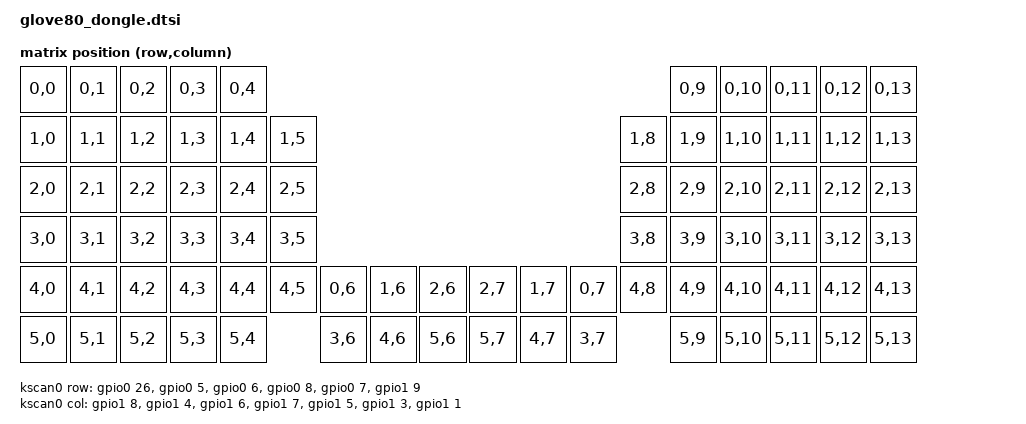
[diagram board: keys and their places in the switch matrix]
/*
 * Copyright (c) 2020 Pete Johanson
 *
 * SPDX-License-Identifier: MIT
 */

#include <dt-bindings/zmk/matrix_transform.h>
#include <dt-bindings/led/led.h>

/ {
	chosen {
		zmk,kscan = &kscan0;
		zmk,matrix_transform = &default_transform;
		zephyr,code-partition = &code_partition;
		zephyr,sram = &sram0;
		zephyr,flash = &flash0;
		zephyr,console = &cdc_acm_uart;
		zmk,underglow = &led_strip;
        zmk,backlight = &back_led_backlight;
		/*zmk,battery   = &vbatt; */
		zmk,underglow-indicators = &underglow_indicators;
	};

	default_transform: keymap_transform_0 {
		compatible = "zmk,matrix-transform";
		columns = <14>;
		rows = <6>;
		map = <
RC(0,0) RC(0,1) RC(0,2) RC(0,3) RC(0,4)                                                                    RC(0,9) RC(0,10) RC(0,11) RC(0,12) RC(0,13)
RC(1,0) RC(1,1) RC(1,2) RC(1,3) RC(1,4) RC(1,5)                                                    RC(1,8) RC(1,9) RC(1,10) RC(1,11) RC(1,12) RC(1,13)
RC(2,0) RC(2,1) RC(2,2) RC(2,3) RC(2,4) RC(2,5)                                                    RC(2,8) RC(2,9) RC(2,10) RC(2,11) RC(2,12) RC(2,13)
RC(3,0) RC(3,1) RC(3,2) RC(3,3) RC(3,4) RC(3,5)                                                    RC(3,8) RC(3,9) RC(3,10) RC(3,11) RC(3,12) RC(3,13)
RC(4,0) RC(4,1) RC(4,2) RC(4,3) RC(4,4) RC(4,5) RC(0,6) RC(1,6) RC(2,6)   RC(2,7) RC(1,7)  RC(0,7) RC(4,8) RC(4,9) RC(4,10) RC(4,11) RC(4,12) RC(4,13)
RC(5,0) RC(5,1) RC(5,2) RC(5,3) RC(5,4)         RC(3,6) RC(4,6) RC(5,6)   RC(5,7) RC(4,7)  RC(3,7)         RC(5,9) RC(5,10) RC(5,11) RC(5,12) RC(5,13)
		>;
	};

	kscan0: kscan {
		compatible = "zmk,kscan-gpio-matrix";
		label = "KSCAN";
			row-gpios
		= <&gpio0 26 (GPIO_ACTIVE_HIGH | GPIO_PULL_DOWN)> // LH ROW1
		, <&gpio0 5 (GPIO_ACTIVE_HIGH | GPIO_PULL_DOWN)> // LH ROW2
		, <&gpio0 6 (GPIO_ACTIVE_HIGH | GPIO_PULL_DOWN)> // LH ROW3
		, <&gpio0 8 (GPIO_ACTIVE_HIGH | GPIO_PULL_DOWN)> // LH ROW4
		, <&gpio0 7 (GPIO_ACTIVE_HIGH | GPIO_PULL_DOWN)> // LH ROW5
		, <&gpio1 9 (GPIO_ACTIVE_HIGH | GPIO_PULL_DOWN)> // LH ROW6
		;
	col-gpios
		= <&gpio1 8 GPIO_ACTIVE_HIGH> // LH COL6
		, <&gpio1 4 GPIO_ACTIVE_HIGH> // LH COL5
		, <&gpio1 6 GPIO_ACTIVE_HIGH> // LH COL4
		, <&gpio1 7 GPIO_ACTIVE_HIGH> // LH COL3
		, <&gpio1 5 GPIO_ACTIVE_HIGH> // LH COL2
		, <&gpio1 3 GPIO_ACTIVE_HIGH> // LH COL1
		, <&gpio1 1 GPIO_ACTIVE_HIGH> // LH Thumb
		;

		diode-direction = "col2row";
		debounce-press-ms = <4>;
		debounce-release-ms = <20>;

	back_led_backlight: pwmleds {
		compatible = "pwm-leds";
		label = "BACK LED";
		pwm_led_0 {
			pwms = <&pwm0 47>; 
			label = "Back LED configured as backlight";
		};
	};
	underglow_indicators: underglow-indicators {
		compatible  = "zmk,underglow-indicators";
		layer-state = <35 29 23 17 11 6>;
		bat-lhs     = <36 30 24 18 12 7>;
		bat-rhs     = <37 31 25 19 13 8>;
		capslock    = <22>;
		numlock     = <16>;
		scrolllock  = <10>;
		ble-state   = <3 4 0 1>;
		usb-state   = <5>;
		output-fallback = <15>;
	};
};

};

&adc {
	status = "okay";
};

&gpiote {
	status = "okay";
};

&gpio0 {
	status = "okay";
};

&gpio1 {
	status = "okay";
};

&usbd {
	status = "okay";
	cdc_acm_uart: cdc_acm_uart {
		compatible = "zephyr,cdc-acm-uart";
		label = "CDC_ACM_0";
	};
};



&spi1 {
	compatible = "nordic,nrf-spim";
	/* Cannot be used together with i2c0. */
	status = "okay";
	mosi-pin = <27>; /* WS2812_VEXT_DATA */
	// Unused pins, needed for SPI definition, but not used by the ws2812 driver itself.
	sck-pin = <13>; /* Must select a not connected pin */
	miso-pin = <14>; /* Must select a not connected pin */

	led_strip: ws2812@0 {
		compatible = "worldsemi,ws2812-spi";
		label = "WS2812C-2020";

		/* SPI */
		reg = <0>; /* ignored, but necessary for SPI bindings */
		spi-max-frequency = <4000000>;

		/* WS2812 */
		chain-length = <40>; /* 40 keys have underglow at the moment */
		spi-one-frame = <0x70>;
		spi-zero-frame = <0x40>;

		color-mapping = <LED_COLOR_ID_GREEN LED_COLOR_ID_RED LED_COLOR_ID_BLUE>;
	};
};
